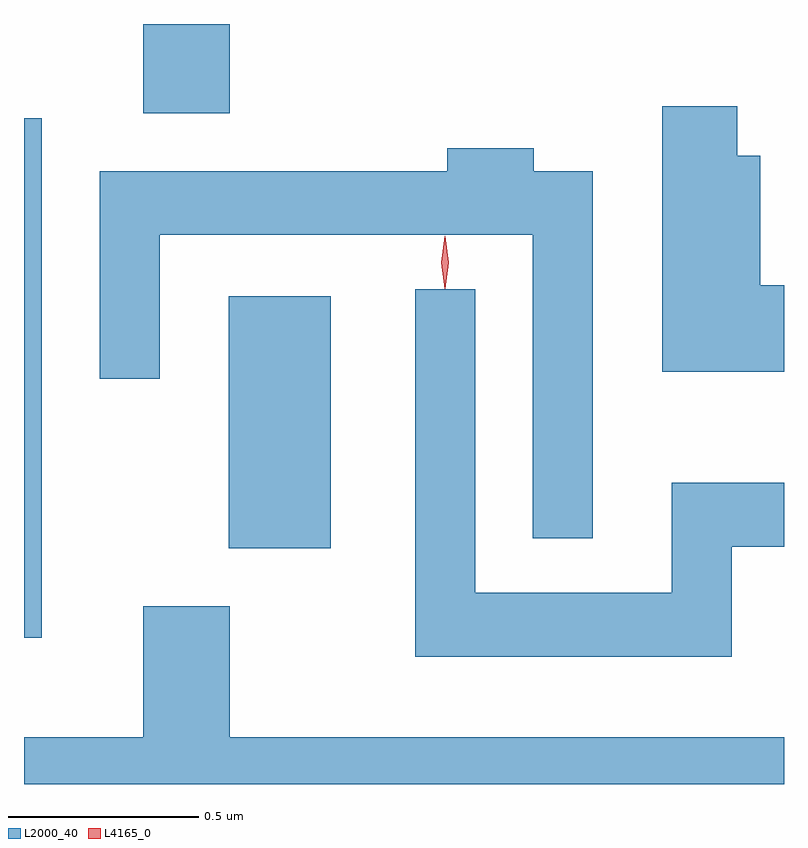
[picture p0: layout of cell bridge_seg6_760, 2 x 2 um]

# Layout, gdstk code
import gdstk
lib = gdstk.Library(unit=1e-6, precision=1e-09)
def R(c, l, rs):  # rectangles x0, y0, x1, y1
    for r in rs: c.add(gdstk.rectangle(r[:2], r[2:], *l))
def P(c, l, *ps):  # polygons
    for p in ps: c.add(gdstk.Polygon(p, *l))
L2000_40 = (2000, 40)
L4165_0 = (4165, 0)

bridge_seg6_760 = lib.new_cell('bridge_seg6_760')
R(bridge_seg6_760, L2000_40, [(508.507,1537.246,508.554,1538.613), (509.046,1537.481,509.314,1538.144), (508.821,1538.626,509.049,1538.861)])
P(bridge_seg6_760, L2000_40, [(510.507,1538.174),(510.444,1538.174),(510.444,1538.514),(510.384,1538.514),(510.384,1538.644),(510.186,1538.644),(510.186,1537.946),(510.507,1537.946)],
  [(510.004,1538.474),(509.849,1538.474),(509.849,1538.534),(509.621,1538.534),(509.621,1538.474),(508.706,1538.474),(508.706,1537.928),(508.864,1537.928),(508.864,1538.306),(509.846,1538.306),(509.846,1537.508),(510.004,1537.508)],
  [(510.369,1537.486),(510.507,1537.486),(510.507,1537.654),(510.211,1537.654),(510.211,1537.364),(509.694,1537.364),(509.694,1538.163),(509.536,1538.163),(509.536,1537.196),(510.369,1537.196)],
  [(510.507,1536.984),(509.049,1536.984),(509.049,1537.329),(508.821,1537.329),(508.821,1536.984),(508.507,1536.984),(508.507,1536.861),(510.507,1536.861)])
P(bridge_seg6_760, L4165_0, [(509.614,1538.164),(509.605,1538.233),(509.614,1538.302),(509.615,1538.303),(509.615,1538.302),(509.625,1538.233),(509.615,1538.164),(509.615,1538.164)],
  [(509.614,1538.167),(509.605,1538.234),(509.614,1538.3),(509.615,1538.3),(509.615,1538.3),(509.625,1538.234),(509.615,1538.167),(509.615,1538.167)])

lib.write_gds('bridge_seg6_760.gds')
